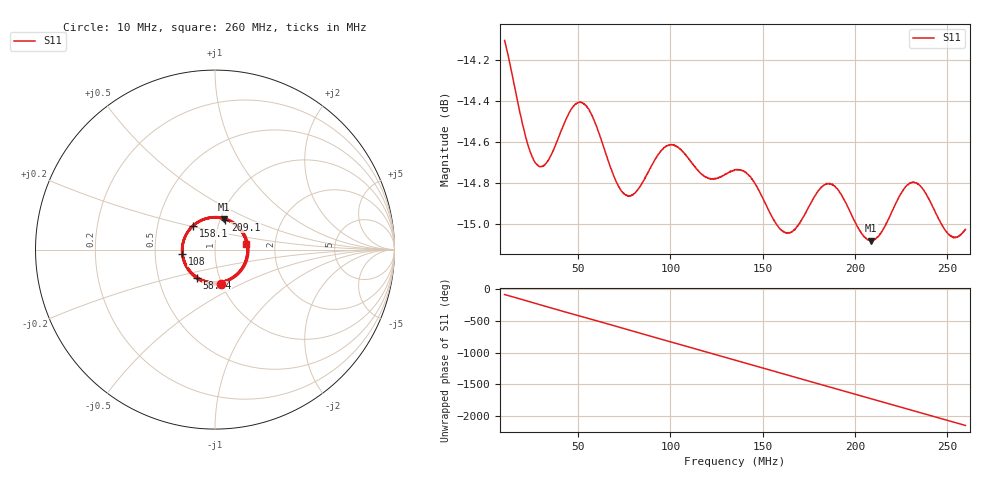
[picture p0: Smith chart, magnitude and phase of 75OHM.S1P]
!Agilent Technologies,E5071C,MY46214392,A.11.36
!Date: Tue Jun 16 11:54:09 2026
!Data & Calibration Information:
!Freq	S11:SOLT1(ON)
!PortZ  Port1:50+j0
!Above PortZ is port z conversion or system Z0 setting when saving the data.
!When reading, reference impedance value at option line is always used.
# Hz S RI R 50
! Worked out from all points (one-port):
!   1601 points, 10 MHz to 260 MHz, reference 50 ohm
!   lowest |S11| = -15.1 dB at 208.8 MHz (marker M1), VSWR 1.43, Z = 52 + j18.1 ohm
!   |S11| at or under -10 dB: start of sweep to end of sweep
!   S11 on the Smith chart (normalised r, x): 10 MHz: 0.99, -0.40; 58.44 MHz: 0.78, -0.26; 108 MHz: 0.69, -0.03; 158.1 MHz: 0.76, +0.20; 209.1 MHz: 1.06, +0.36; 260 MHz: 1.42, +0.09
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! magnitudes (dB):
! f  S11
! 10 MHz  -14.1
! 20.78 MHz  -14.6
! 26.41 MHz  -14.7
! 32.5 MHz  -14.7
! 41.25 MHz  -14.5
! 50.31 MHz  -14.4
! 58.44 MHz  -14.5
! 72.5 MHz  -14.8
! 79.69 MHz  -14.9
! 95.47 MHz  -14.6
! 103.8 MHz  -14.6
! 108 MHz  -14.7
! 120.8 MHz  -14.8
! 135 MHz  -14.7
! 144.1 MHz  -14.8
! 158.1 MHz  -15.0
! 166.2 MHz  -15.0
! 184.4 MHz  -14.8
! 190.2 MHz  -14.8
! 197.5 MHz  -14.9
! 204.1 MHz  -15.0
! 208.8 MHz  -15.1
! 209.1 MHz  -15.1
! 214.2 MHz  -15.0
! 228.8 MHz  -14.8
! 236.4 MHz  -14.8
! 251.4 MHz  -15.1
! 260 MHz  -15.0
